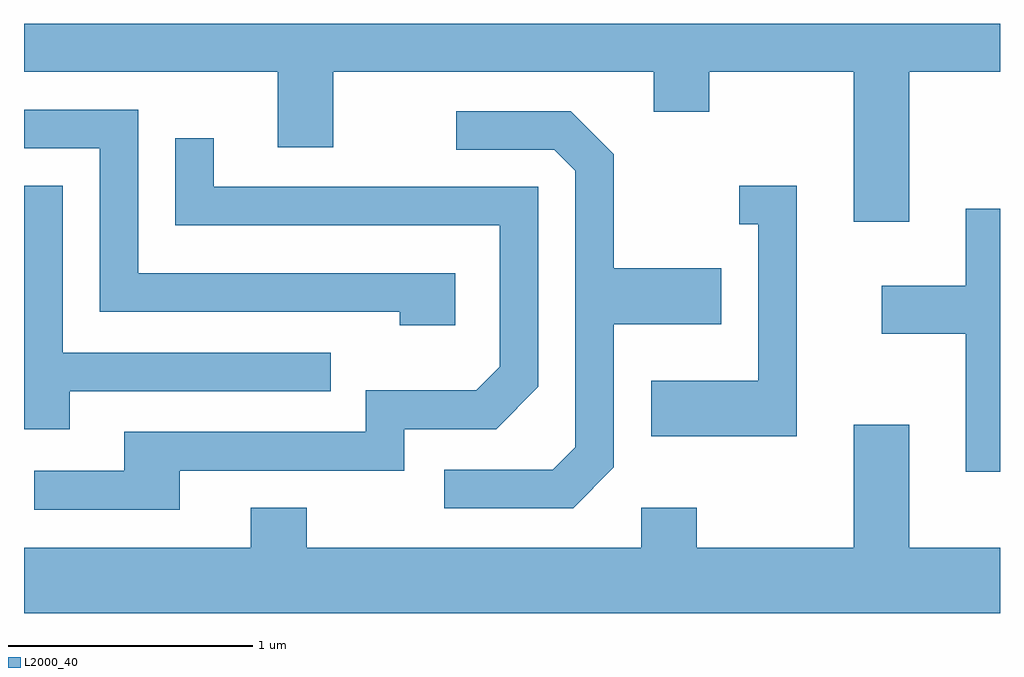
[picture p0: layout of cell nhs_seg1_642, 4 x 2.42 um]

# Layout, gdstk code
import gdstk
lib = gdstk.Library(unit=1e-6, precision=1e-09)
def P(c, l, *ps):  # polygons
    for p in ps: c.add(gdstk.Polygon(p, *l))
L2000_40 = (2000, 40)

nhs_seg1_642 = lib.new_cell('nhs_seg1_642')
P(nhs_seg1_642, L2000_40, [(207.239,959.516),(207.611,959.516),(207.611,959.712),(203.611,959.712),(203.611,959.516),(204.651,959.516),(204.651,959.206),(204.879,959.206),(204.879,959.516),(206.191,959.516),(206.191,959.351),(206.419,959.351),(206.419,959.516),(207.011,959.516),(207.011,958.901),(207.239,958.901)],
  [(205.379,958.689),(204.079,958.689),(204.079,959.359),(203.611,959.359),(203.611,959.201),(203.921,959.201),(203.921,958.531),(205.151,958.531),(205.151,958.476),(205.379,958.476)],
  [(206.029,957.894),(206.029,958.481),(206.469,958.481),(206.469,958.709),(206.029,958.709),(206.029,959.177),(205.852,959.354),(205.383,959.354),(205.383,959.196),(205.784,959.196),(205.871,959.109),(205.871,957.977),(205.779,957.884),(205.333,957.884),(205.333,957.726),(205.862,957.726)],
  [(204.249,957.881),(205.169,957.881),(205.169,958.051),(205.547,958.051),(205.719,958.224),(205.719,959.044),(204.389,959.044),(204.389,959.243),(204.231,959.243),(204.231,958.886),(205.561,958.886),(205.561,958.307),(205.464,958.209),(205.011,958.209),(205.011,958.039),(204.021,958.039),(204.021,957.879),(203.653,957.879),(203.653,957.721),(204.249,957.721)],
  [(203.799,958.206),(204.868,958.206),(204.868,958.364),(203.769,958.364),(203.769,959.049),(203.611,959.049),(203.611,958.051),(203.799,958.051)],
  [(206.779,959.049),(206.543,959.049),(206.543,958.891),(206.621,958.891),(206.621,958.249),(206.181,958.249),(206.181,958.021),(206.779,958.021)],
  [(207.611,958.954),(207.471,958.954),(207.471,958.639),(207.126,958.639),(207.126,958.441),(207.471,958.441),(207.471,957.876),(207.611,957.876)],
  [(207.611,957.564),(207.239,957.564),(207.239,958.069),(207.011,958.069),(207.011,957.564),(206.369,957.564),(206.369,957.729),(206.141,957.729),(206.141,957.564),(204.769,957.564),(204.769,957.729),(204.541,957.729),(204.541,957.564),(203.611,957.564),(203.611,957.296),(207.611,957.296)])

lib.write_gds('nhs_seg1_642.gds')
